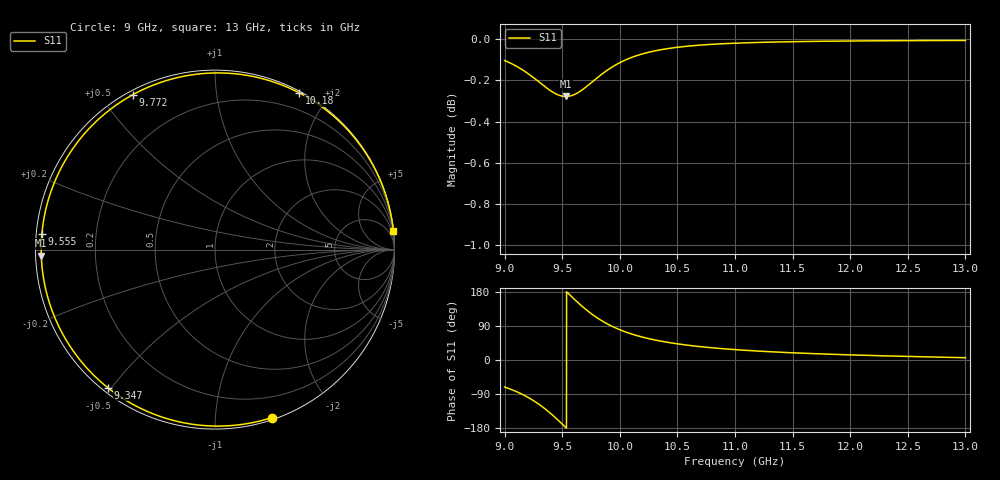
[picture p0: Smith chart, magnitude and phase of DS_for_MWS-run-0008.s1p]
! TOUCHSTONE file generated by CST DESIGN STUDIO
! Date and time: Tue Feb  4 17:31:03 2025
! Project name: C:\Work\MatlabApps\UnitCellOptimizationMatlab\CST\unitcell.cst
! Tree item: Tasks\Sweep1\SPara1\S-Parameters
! Header version: 2024
! Port assignment regex: !\s*Touchstone port\s*([0-9]+)\s*=\s*(CST MWS port|CST DES external port|CST DES block port)\s*(.+)\s* \(\"(.*)\"\)(\s*mode\s*([0-9]+))?.*
! Touchstone port assignment:
! Touchstone port 1 = CST DES external port 1 ("")
# GHz S MA R 50
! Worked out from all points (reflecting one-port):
!   4001 points, 9 GHz to 13 GHz, reference 50 ohm
!   lowest |S11| = -0.3 dB at 9.531 GHz (marker M1), VSWR 62.44, Z = 0.801 - j0.854 ohm
!   phase of S11 starts at -71 deg and turns -283 deg over the sweep
!   S11 on the Smith chart (normalised r, x): 9 GHz: 0.02, -1.39; 9.347 GHz: 0.02, -0.49; 9.555 GHz: 0.02, +0.04; 9.772 GHz: 0.02, +0.60; 10.18 GHz: 0.02, +1.67; 13 GHz: 0, +19
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9  0.9882 -71.3
9.097  0.9852 -82.6
9.204  0.9809 -98.7
9.279  0.9774 -112.8
9.347  0.974 -127.9
9.419  0.9708 -146.1
9.461  0.9694 -157.8
9.5  0.9687 -169.0
9.531  0.9685 -178.0
9.555  0.9686 174.9
9.609  0.9696 159.3
9.67  0.9719 142.5
9.721  0.9744 129.6
9.772  0.977 117.9
9.82  0.9795 108.0
9.873  0.982 98.4
9.932  0.9845 89.0
10  0.987 79.8
10.086  0.9895 70.2
10.18  0.9915 61.7
10.326  0.9938 51.5
10.5  0.9955 42.6
10.721  0.9968 34.6
11  0.9978 27.4
11.5  0.9986 19.0
12  0.999 13.5
12.5  0.9992 9.4
13  0.9993 6.1
